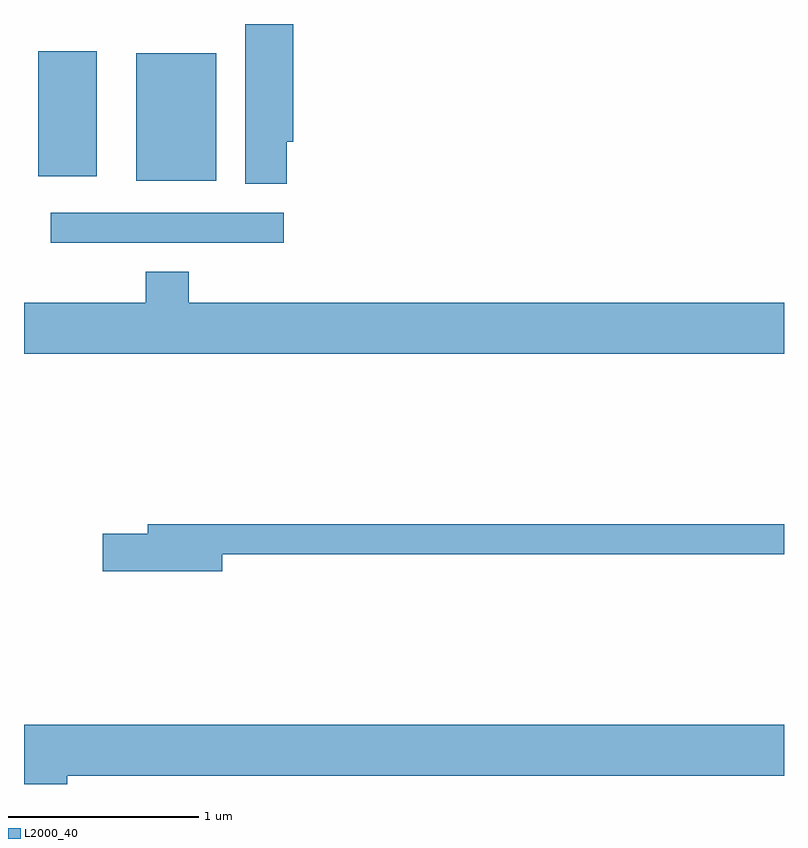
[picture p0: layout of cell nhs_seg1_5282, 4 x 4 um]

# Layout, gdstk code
import gdstk
lib = gdstk.Library(unit=1e-6, precision=1e-09)
def R(c, l, rs):  # rectangles x0, y0, x1, y1
    for r in rs: c.add(gdstk.rectangle(r[:2], r[2:], *l))
def P(c, l, *ps):  # polygons
    for p in ps: c.add(gdstk.Polygon(p, *l))
L2000_40 = (2000, 40)

nhs_seg1_5282 = lib.new_cell('nhs_seg1_5282')
R(nhs_seg1_5282, L2000_40, [(343.753,944.561,344.978,944.719), (344.201,944.886,344.624,945.559), (343.686,944.911,343.994,945.569)])
P(nhs_seg1_5282, L2000_40, [(344.994,945.091),(345.029,945.091),(345.029,945.712),(344.776,945.712),(344.776,944.871),(344.994,944.871)],
  [(347.611,944.244),(344.479,944.244),(344.479,944.409),(344.251,944.409),(344.251,944.244),(343.611,944.244),(343.611,943.976),(347.611,943.976)],
  [(344.654,942.921),(347.611,942.921),(347.611,943.079),(344.261,943.079),(344.261,943.029),(344.026,943.029),(344.026,942.831),(344.654,942.831)],
  [(343.839,941.756),(347.611,941.756),(347.611,942.024),(343.611,942.024),(343.611,941.712),(343.839,941.712)])

lib.write_gds('nhs_seg1_5282.gds')
